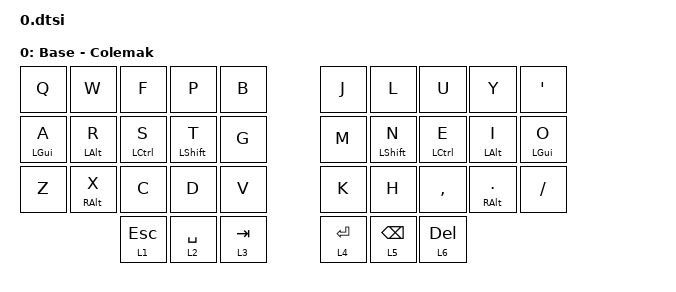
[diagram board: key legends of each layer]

/ {
	keymap {
        compatible = "zmk,keymap";
		BASE_LAYER {
			label = "Base - Colemak";
			bindings = <
                &kp Q       &kp W       &kp F       &kp P       &kp B       &kp J       &kp L       &kp U       &kp Y       &kp SQT 
                &hm LGUI A  &hm LALT R  &hm LCTL S  &hm LSHFT T &kp G       &kp M       &hm LSHFT N &hm LCTL E  &hm LALT I  &hm LGUI O 
                &kp Z       &hm RALT X  &kp C       &kp D       &kp V       &kp K       &kp H       &kp COMMA   &hm RALT DOT &kp FSLH 
                                        &lt 1 ESC   &lt 2 SPACE &lt 3 TAB   &lt 4 RET   &lt 5 BSPC  &lt 6 DEL
			>;
		};	
	};
};

